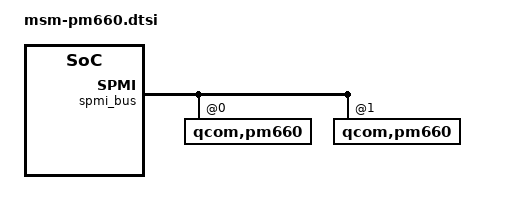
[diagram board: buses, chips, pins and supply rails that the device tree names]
/* Copyright (c) 2016-2017, The Linux Foundation. All rights reserved.
 *
 * This program is free software; you can redistribute it and/or modify
 * it under the terms of the GNU General Public License version 2 and
 * only version 2 as published by the Free Software Foundation.
 *
 * This program is distributed in the hope that it will be useful,
 * but WITHOUT ANY WARRANTY; without even the implied warranty of
 * MERCHANTABILITY or FITNESS FOR A PARTICULAR PURPOSE.  See the
 * GNU General Public License for more details.
 */

&spmi_bus {
	qcom,pm660@0 {
		pm660_charger: qcom,qpnp-smb2 {
			qcom,thermal-mitigation
					= <2000000 1800000 1600000 1400000
						1000000 500000>;
			qcom,sw-jeita-enable;
		};

	};

	qcom,pm660@1 {
		pm660_haptics: qcom,haptic@c000 {
			qcom,actuator-type = "erm";
		};
	};
};
